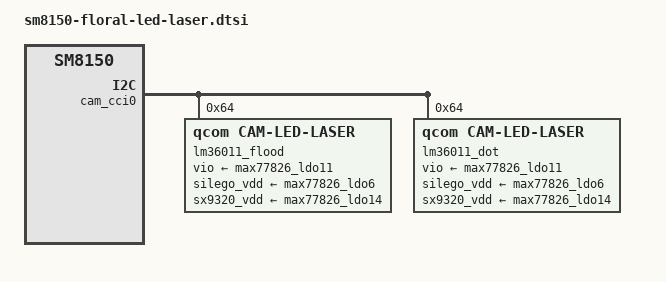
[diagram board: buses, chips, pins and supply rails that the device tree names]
/*
 * Copyright (c) 2018, The Linux Foundation. All rights reserved.
 *
 * This program is free software; you can redistribute it and/or modify
 * it under the terms of the GNU General Public License version 2 and
 * only version 2 as published by the Free Software Foundation.
 *
 * This program is distributed in the hope that it will be useful,
 * but WITHOUT ANY WARRANTY; without even the implied warranty of
 * MERCHANTABILITY or FITNESS FOR A PARTICULAR PURPOSE.  See the
 * GNU General Public License for more details.
 */

&cam_cci0 {

	lm36011_flood: qcom,cam-led-laser-flood@64 {
		compatible = "qcom,cam-led-laser";
		cci-device = <0>;
		cci-master = <0>;
		reg = <0x64>;
		vio-supply = <&max77826_ldo11>;
		silego_vdd-supply = <&max77826_ldo6>;
		sx9320_vdd-supply = <&max77826_ldo14>;
		regulator-names = "vio", "silego_vdd", "sx9320_vdd";
		laser-type = <0>;
		status = "ok";
	};

	lm36011_dot: qcom,cam-led-laser-dot@64 {
		compatible = "qcom,cam-led-laser";
		cci-device = <0>;
		cci-master = <1>;
		reg = <0x64>;
		vio-supply = <&max77826_ldo11>;
		silego_vdd-supply = <&max77826_ldo6>;
		sx9320_vdd-supply = <&max77826_ldo14>;
		regulator-names = "vio", "silego_vdd", "sx9320_vdd";
		laser-type = <1>;
		status = "ok";
	};

};
